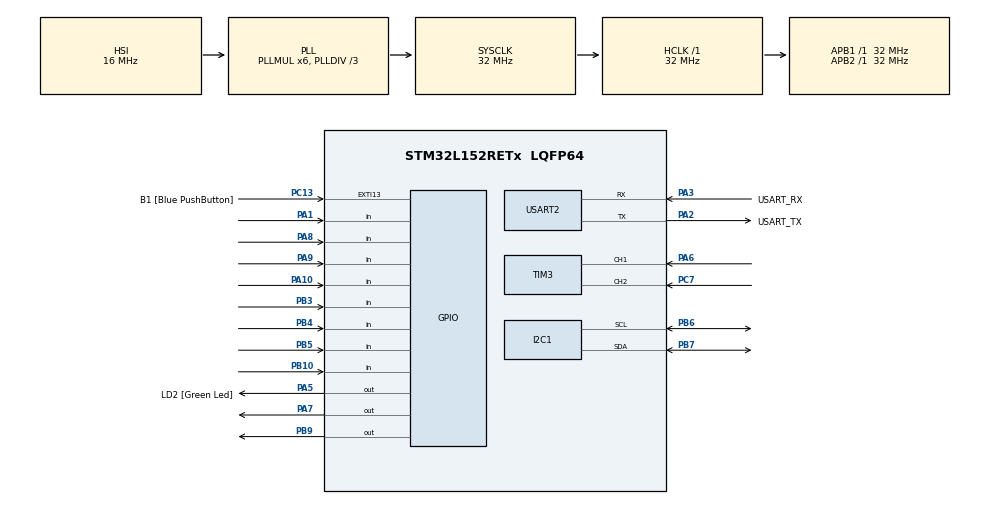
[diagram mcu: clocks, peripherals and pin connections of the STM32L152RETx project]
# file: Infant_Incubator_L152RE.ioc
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Mcu.Family=STM32L1
Mcu.Name=STM32L152RETx
Mcu.Package=LQFP64
NVIC.PriorityGroup=NVIC_PRIORITYGROUP_0
PA1.Signal=GPIO_Input
PA10.GPIO_PuPd=GPIO_PULLDOWN
PA10.Signal=GPIO_Input
PA13.GPIO_Label=TMS
PA13.Mode=Serial_Wire
PA13.Signal=SYS_JTMS-SWDIO
PA14.GPIO_Label=TCK
PA14.Mode=Serial_Wire
PA14.Signal=SYS_JTCK-SWCLK
PA2.GPIO_Label=USART_TX
PA2.Mode=Asynchronous
PA2.Signal=USART2_TX
PA3.GPIO_Label=USART_RX
PA3.Mode=Asynchronous
PA3.Signal=USART2_RX
PA5.GPIO_Label=LD2 [Green Led]
PA5.Signal=GPIO_Output
PA6.GPIO_PuPd=GPIO_PULLUP
PA6.Signal=S_TIM3_CH1
PA7.Signal=GPIO_Output
PA8.GPIO_PuPd=GPIO_PULLUP
PA8.Signal=GPIO_Input
PA9.GPIO_PuPd=GPIO_PULLDOWN
PA9.Signal=GPIO_Input
PB10.GPIO_PuPd=GPIO_PULLDOWN
PB10.Signal=GPIO_Input
PB3.GPIO_PuPd=GPIO_PULLDOWN
PB3.Signal=GPIO_Input
PB4.GPIO_PuPd=GPIO_PULLDOWN
PB4.Signal=GPIO_Input
PB5.GPIO_PuPd=GPIO_PULLDOWN
PB5.Signal=GPIO_Input
PB6.Mode=I2C
PB6.Signal=I2C1_SCL
PB7.Mode=I2C
PB7.Signal=I2C1_SDA
PB9.Signal=GPIO_Output
PC13-WKUP2.GPIO_Label=B1 [Blue PushButton]
PC13-WKUP2.Signal=GPXTI13
PC14-OSC32_IN.Mode=LSE-External-Oscillator
PC14-OSC32_IN.Signal=RCC_OSC32_IN
PC15-OSC32_OUT.Mode=LSE-External-Oscillator
PC15-OSC32_OUT.Signal=RCC_OSC32_OUT
PC7.GPIO_PuPd=GPIO_PULLUP
PC7.Signal=S_TIM3_CH2
PH0-OSC_IN.Mode=HSE-External-Clock-Source
PH0-OSC_IN.Signal=RCC_OSC_IN
PH1-OSC_OUT.Signal=RCC_OSC_OUT
ProjectManager.HeapSize=0x200
ProjectManager.StackSize=0x400
ProjectManager.TargetToolchain=STM32CubeIDE
RCC.48MHZClocksFreq_Value=48000000
RCC.AHBFreq_Value=32000000
RCC.APB1Freq_Value=32000000
RCC.APB1TimFreq_Value=32000000
RCC.APB2Freq_Value=32000000
RCC.APB2TimFreq_Value=32000000
RCC.HCLKFreq_Value=32000000
RCC.HSE_VALUE=8000000
RCC.HSI_VALUE=16000000
RCC.MSI_VALUE=2097000
RCC.PLLDIV=RCC_PLL_DIV3
RCC.PLLMUL=RCC_PLL_MUL6
RCC.RTCClockSelectionVirtual=RCC_RTCCLKSOURCE_LSE
RCC.SYSCLKFreq_VALUE=32000000
RCC.SYSCLKSource=RCC_SYSCLKSOURCE_PLLCLK
RCC.USBOutput=48000000
RCC.VCOOutputFreq_Value=96000000
SH.S_TIM3_CH1.0=TIM3_CH1,Encoder_Interface
SH.S_TIM3_CH2.0=TIM3_CH2,Encoder_Interface
TIM3.EncoderMode=TIM_ENCODERMODE_TI2
USART2.VirtualMode=VM_ASYNC
board=NUCLEO-L152RE

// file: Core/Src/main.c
/* USER CODE BEGIN Header */
/**
 ******************************************************************************
 * @file           : main.c
 * @brief          : Main program body
 ******************************************************************************
 * @attention
 *
 * Copyright (c) 2025 STMicroelectronics.
 * All rights reserved.
 *
 * This software is licensed under terms that can be found in the LICENSE file
 * in the root directory of this software component.
 * If no LICENSE file comes with this software, it is provided AS-IS.
 *
 ******************************************************************************
 */
/* USER CODE END Header */
#include "main.h"

/* USER CODE BEGIN Includes */
#include "I2C_LCD.h"
#include <string.h>
#include <stdio.h>
#include <stdbool.h>
/* USER CODE END Includes */

/* USER CODE BEGIN PTD */
typedef enum{
  HOME_SCREEN,
  BPM_SCREEN,
  HUMIDITY_SCREEN,
  INC_TEMP_SCREEN,
  INF_TEMP_SCREEN,
} MenuState;

typedef struct {
    int *min;
    int *max;
    int absMin;
    int absMax;
} paramBounds;
/* USER CODE END PTD */

/* USER CODE BEGIN PD */
	#define SHT31_ADDR 0x44 << 1 // SHT31 I2C address shifted left by 1 bit
	#define CMD_MEASURE_TEMP 0x2C06 // Command to measure temperature
	#define CMD_MEASURE_HUMIDITY 0x2C10 // Command to measure humidity
/* USER CODE END PD */

I2C_HandleTypeDef hi2c1;

TIM_HandleTypeDef htim3;

UART_HandleTypeDef huart2;

/* USER CODE BEGIN PV */
const uint32_t SCREEN_REFRESH_MS = 1500;   // update every 500 ms
char buffer[256] = {0};
uint32_t lastUpdateTick = 0;
uint32_t now = 0;
I2C_LCD_HandleTypeDef lcd1;
/* USER CODE END PV */

void SystemClock_Config(void);
static void MX_GPIO_Init(void);
static void MX_USART2_UART_Init(void);
static void MX_I2C1_Init(void);
static void MX_TIM3_Init(void);

/* USER CODE BEGIN 0 */
// calculates CRC value for STS-35 Sensor
uint8_t STS35_CalcCRC(uint8_t *data)
{
   uint8_t crc = 0xFF;   // Start with initial CRC value
   // Process both temperature bytes
   for (int i = 0; i < 2; i++)
   {
       crc ^= data[i];   // XOR incoming byte with current CRC
       // Process each of the 8 bits in this byte
       for (int j = 0; j < 8; j++)
       {
           // If MSB is 1, shift and XOR with polynomial 0x31
           if (crc & 0x80)
               crc = (crc << 1) ^ 0x31;
           else
               crc = (crc << 1);   // Otherwise just shift left
       }
   }
   return crc;   // Final CRC result
}
//takes reading from STS35 sensor
float STS35_ReadTemperature(void)
{
  uint8_t cmd[2] = {0x24, 0x00};     // High repeatability, no clock stretch
  uint8_t rx[3];
  uint16_t raw;
  // Send command
  if (HAL_I2C_Master_Transmit(&hi2c1, (0x4B << 1), cmd, 2, HAL_MAX_DELAY) != HAL_OK)
      return -300.0f;
  HAL_Delay(20);
  // Read response: 2 bytes + CRC
  if (HAL_I2C_Master_Receive(&hi2c1, (0x4B << 1), rx, 3, HAL_MAX_DELAY) != HAL_OK)
      return -300.0f;
  // CRC check
  if (STS35_CalcCRC(rx) != rx[2])
      return -301.0f;
  // Convert raw temperature reading
  raw = (rx[0] << 8) | rx[1];
  return -45.0f + (175.0f * (float)raw / 65535.0f);
}
//Takes reading from SHT31 Sensor
void SHT31_ReadTempHumidity(float* temp, float* humidity)
{
   uint8_t cmd[2] = {0x2C, 0x06};
   uint8_t data[6];
   uint16_t temp_raw, humidity_raw;
   // Send measurement command
   HAL_I2C_Master_Transmit(&hi2c1, SHT31_ADDR, cmd, 2, HAL_MAX_DELAY);
   HAL_Delay(20);
   // Read 6 bytes (temp + humidity)
   HAL_I2C_Master_Receive(&hi2c1, SHT31_ADDR, data, 6, HAL_MAX_DELAY);
   // Parse raw values
   temp_raw = (data[0] << 8) | data[1];
   humidity_raw = (data[3] << 8) | data[4];
   // Convert to human-readable units
   *temp = -45.0f + 175.0f * ((float)temp_raw / 65535.0f);
   *humidity = 100.0f * ((float)humidity_raw / 65535.0f);
}

void drawParamScreen(I2C_LCD_HandleTypeDef *lcd, const char *title, float value, int minVal, int maxVal, uint8_t editMax, char *buffer)
{
    // Display the name of the current screen
    lcd_gotoxy(lcd, 0, 0);
    lcd_puts(lcd, title);

    // Display the live sensor value on the right side
    lcd_gotoxy(lcd, 15, 0);
    sprintf(buffer, "%4.1f", value);
    lcd_puts(lcd, buffer);

    // Show cursor if editing MIN (editMax == 0)
    lcd_gotoxy(lcd, 0, 1);
    lcd_puts(lcd, (!editMax) ? ">" : " ");

    // Label for minimum bound
    lcd_gotoxy(lcd, 1, 1);
    lcd_puts(lcd, "Min. Bound:");

    // Display minimum bound value
    lcd_gotoxy(lcd, 15, 1);
    sprintf(buffer, "%d", minVal);
    lcd_puts(lcd, buffer);

    // Show cursor if editing MAX (editMax == 1)
    lcd_gotoxy(lcd, 0, 2);
    lcd_puts(lcd, (editMax) ? ">" : " ");

    // Label for maximum bound
    lcd_gotoxy(lcd, 1, 2);
    lcd_puts(lcd, "Max. Bound:");

    // Display maximum bound value
    lcd_gotoxy(lcd, 15, 2);
    sprintf(buffer, "%d", maxVal);
    lcd_puts(lcd, buffer);
}
/* USER CODE END 0 */

int main(void)
{

  /* MCU Configuration--------------------------------------------------------*/

  /* Reset of all peripherals, Initializes the Flash interface and the Systick. */
  HAL_Init();

  /* Configure the system clock */
  SystemClock_Config();

  /* Initialize all configured peripherals */
  MX_GPIO_Init();
  MX_USART2_UART_Init();
  MX_I2C1_Init();
  MX_TIM3_Init();
  /* USER CODE BEGIN 2 */
 HAL_TIM_Encoder_Start(&htim3, TIM_CHANNEL_ALL);
 /* USER CODE BEGIN 2 */
 lcd1.hi2c1 = &hi2c1;   // use global hi2c1 (initialized by MX_I2C1_Init)
 lcd1.address = (0x27 << 1);
 lcd_init(&lcd1);
 // Pulled-down input so default low.
 uint8_t bpmLastState = 0;
 uint8_t humidityLastState = 0;
 uint8_t incubatorTempLastState = 0;
 uint8_t infantTempLastState = 0;
 uint8_t homeScreenLastState = 0;
 MenuState currentScreen = HOME_SCREEN;
 MenuState lastScreen = INF_TEMP_SCREEN;
 bool editMax = false;   // false = edit min, true = edit max
 int16_t lastEnc = (int16_t)__HAL_TIM_GET_COUNTER(&htim3);
 // Random testing variables
 float infTemp = 0;
 float humidity = 0;
 float incTemp = 0;
 float bpm = 100;
 int alarm = 0;
 int maxIncTemp = 50;
 int minIncTemp = 10;
 int minBpm = 80;
 int maxBpm = 150;
 int minInfTemp = 20;
 int maxInfTemp = 30;
 int maxHumidity = 98;
 int minHumidity = 2;

 paramBounds params[] = {
     [BPM_SCREEN]       = {&minBpm, &maxBpm, 0, 300},
     [HUMIDITY_SCREEN]  = {&minHumidity, &maxHumidity, 0, 100},
     [INC_TEMP_SCREEN]  = {&minIncTemp, &maxIncTemp, -100, 100},
     [INF_TEMP_SCREEN]  = {&minInfTemp, &maxInfTemp, -100, 100}
 };
  /* USER CODE END 2 */

  /* Infinite loop */
  /* USER CODE BEGIN WHILE */
 while (1)
 {
	  // Read encoder value
	  int16_t encNow = (int16_t)__HAL_TIM_GET_COUNTER(&htim3);
	  int16_t encDelta = encNow - lastEnc;

	  // Encoder input handling.
	  // When the encoder is rotated enough to register, the system adjusts parameters for selected screen.
	  float step = 0;
	  if (encDelta >= 2)
	  {
	      step = 1;
	      lastEnc = encNow;
	  }
	  else if (encDelta <= -2)
	  {
	      step = -1;
	      lastEnc = encNow;
	  }
	  // update time stamp
     now = HAL_GetTick();
     // Reading the button states
     uint8_t bpmState = HAL_GPIO_ReadPin(GPIOA, GPIO_PIN_10);
     uint8_t humidityState = HAL_GPIO_ReadPin(GPIOA, GPIO_PIN_9);
     uint8_t incubatorTempState = HAL_GPIO_ReadPin(GPIOB, GPIO_PIN_5);
     uint8_t infantTempState = HAL_GPIO_ReadPin(GPIOB, GPIO_PIN_4);
     uint8_t homeScreenState = HAL_GPIO_ReadPin(GPIOB, GPIO_PIN_10);
     // Button press handling for screen navigation and parameter editing.

     // Button 1 : BPM screen
          if (bpmState == GPIO_PIN_RESET && bpmLastState == GPIO_PIN_SET)
          {
              if (currentScreen == BPM_SCREEN)
                  editMax = !editMax;
              else
              {
                  currentScreen = BPM_SCREEN;
                  editMax = false;
              }
          }
          // Button 2 : Humidity screen
          else if (humidityState == GPIO_PIN_RESET && humidityLastState == GPIO_PIN_SET)
          {
              if (currentScreen == HUMIDITY_SCREEN)
                  editMax = !editMax;
              else
              {
                  currentScreen = HUMIDITY_SCREEN;
                  editMax = false;
              }
          }
          // Button 3 : Incubator temperature screen
          else if (incubatorTempState == GPIO_PIN_RESET && incubatorTempLastState == GPIO_PIN_SET)
          {
              if (currentScreen == INC_TEMP_SCREEN)
                  editMax = !editMax;
              else
              {
                  currentScreen = INC_TEMP_SCREEN;
                  editMax = false;
              }
          }
          // Button 4 : Infant temperature screen
          else if (infantTempState == GPIO_PIN_RESET && infantTempLastState == GPIO_PIN_SET)
          {
              if (currentScreen == INF_TEMP_SCREEN)
                  editMax = !editMax;
              else
              {
                  currentScreen = INF_TEMP_SCREEN;
                  editMax = false;
              }
          }
          // Button 5 : Home screen
          else if (homeScreenState == GPIO_PIN_RESET && homeScreenLastState == GPIO_PIN_SET)
          {
              currentScreen = HOME_SCREEN;
          }

          // Saving the button state
          bpmLastState = bpmState;
          humidityLastState = humidityState;
          incubatorTempLastState = incubatorTempState;
          infantTempLastState = infantTempState;
          homeScreenLastState = homeScreenState;

          // get sensor readings
          infTemp = STS35_ReadTemperature();
          SHT31_ReadTempHumidity(&incTemp, &humidity);

          // Encoder step changes bounds on selected screen
          if (step != 0 && currentScreen != HOME_SCREEN)
          {
              paramBounds *p = &params[currentScreen];

              if (!editMax)
              {
                  *p->min += step;

                  if (*p->min < p->absMin) *p->min = p->absMin;
                  if (*p->min >= *p->max) *p->min = *p->max - 1;
              }
              else
              {
                  *p->max += step;

                  if (*p->max <= *p->min) *p->max = *p->min + 1;
                  if (*p->max > p->absMax) *p->max = p->absMax;
              }
          }

     //Alarms
     //Infant temperature alarm
     if (infTemp > maxInfTemp || infTemp < minInfTemp) alarm = 1;
     //Incubator temperature alarm
     else if (incTemp > maxIncTemp || incTemp < minIncTemp) alarm = 1;
     //Incubator humidity alarm
     else if (humidity > maxHumidity || humidity < minHumidity) alarm = 1;
     //Incubator humidity alarm
     else if (bpm > maxBpm || bpm < minBpm) alarm = 1;
     else alarm = 0;
     //Write to alarm pin
     HAL_GPIO_WritePin(GPIOB, GPIO_PIN_9, alarm ? GPIO_PIN_SET : GPIO_PIN_RESET);
     // Only update screen on changes
     if (currentScreen != lastScreen || (now - lastUpdateTick) >= SCREEN_REFRESH_MS) {
         lastUpdateTick = now;   // record time of this update
         lcd_clear(&lcd1);
		  // Home screen as default
         switch(currentScreen)
         {
             case HOME_SCREEN:
                 // Displays all current sensor values

                 // Print screen title
                 lcd_gotoxy(&lcd1, 0, 0);
                 lcd_puts(&lcd1, "Home:");

                 // Print BPM value
                 lcd_gotoxy(&lcd1, 0, 1);
                 sprintf(buffer, "BPM: %4.1f", bpm);
                 lcd_puts(&lcd1, buffer);

                 // Print humidity value
                 lcd_gotoxy(&lcd1, 11, 1);
                 sprintf(buffer, "HUM: %4.1f", humidity);
                 lcd_puts(&lcd1, buffer);

                 // Print incubator temperature
                 lcd_gotoxy(&lcd1, 0, 2);
                 sprintf(buffer, "INC: %4.1f", incTemp);
                 lcd_puts(&lcd1, buffer);

                 // Print infant temperature
                 lcd_gotoxy(&lcd1, 11, 2);
                 sprintf(buffer, "INF: %4.1f", infTemp);
                 lcd_puts(&lcd1, buffer);

                 break;

             case BPM_SCREEN:
                 // Allows editing of BPM min/max bounds using encoder

                 drawParamScreen(&lcd1, "BPM:",
                                 bpm, minBpm, maxBpm,
                                 editMax, buffer);
                 break;

             case HUMIDITY_SCREEN:
                 // Allows editing of humidity min/max bounds

                 drawParamScreen(&lcd1, "Humidity",
                                 humidity, minHumidity, maxHumidity,
                                 editMax, buffer);
                 break;

             case INC_TEMP_SCREEN:
                 // Allows editing of incubator temperature limits

                 drawParamScreen(&lcd1, "Incubator Temp:",
                                 incTemp, minIncTemp, maxIncTemp,
                                 editMax, buffer);
                 break;

             case INF_TEMP_SCREEN:
                 // Allows editing of infant temperature limits

                 drawParamScreen(&lcd1, "Infant Temp:",
                                 infTemp, minInfTemp, maxInfTemp,
                                 editMax, buffer);
                 break;
         }
		  lastScreen = currentScreen;
	  }
    /* USER CODE END WHILE */

 }
}

void SystemClock_Config(void)
{
  RCC_OscInitTypeDef RCC_OscInitStruct = {0};
  RCC_ClkInitTypeDef RCC_ClkInitStruct = {0};

  /** Configure the main internal regulator output voltage
  */
  __HAL_PWR_VOLTAGESCALING_CONFIG(PWR_REGULATOR_VOLTAGE_SCALE1);

  /** Initializes the RCC Oscillators according to the specified parameters
  * in the RCC_OscInitTypeDef structure.
  */
  RCC_OscInitStruct.OscillatorType = RCC_OSCILLATORTYPE_HSI;
  RCC_OscInitStruct.HSIState = RCC_HSI_ON;
  RCC_OscInitStruct.HSICalibrationValue = RCC_HSICALIBRATION_DEFAULT;
  RCC_OscInitStruct.PLL.PLLState = RCC_PLL_ON;
  RCC_OscInitStruct.PLL.PLLSource = RCC_PLLSOURCE_HSI;
  RCC_OscInitStruct.PLL.PLLMUL = RCC_PLL_MUL6;
  RCC_OscInitStruct.PLL.PLLDIV = RCC_PLL_DIV3;
  if (HAL_RCC_OscConfig(&RCC_OscInitStruct) != HAL_OK)
  {
    Error_Handler();
  }

  /** Initializes the CPU, AHB and APB buses clocks
  */
  RCC_ClkInitStruct.ClockType = RCC_CLOCKTYPE_HCLK|RCC_CLOCKTYPE_SYSCLK
                              |RCC_CLOCKTYPE_PCLK1|RCC_CLOCKTYPE_PCLK2;
  RCC_ClkInitStruct.SYSCLKSource = RCC_SYSCLKSOURCE_PLLCLK;
  RCC_ClkInitStruct.AHBCLKDivider = RCC_SYSCLK_DIV1;
  RCC_ClkInitStruct.APB1CLKDivider = RCC_HCLK_DIV1;
  RCC_ClkInitStruct.APB2CLKDivider = RCC_HCLK_DIV1;

  if (HAL_RCC_ClockConfig(&RCC_ClkInitStruct, FLASH_LATENCY_1) != HAL_OK)
  {
    Error_Handler();
  }
}

static void MX_I2C1_Init(void)
{

  hi2c1.Instance = I2C1;
  hi2c1.Init.ClockSpeed = 100000;
  hi2c1.Init.DutyCycle = I2C_DUTYCYCLE_2;
  hi2c1.Init.OwnAddress1 = 0;
  hi2c1.Init.AddressingMode = I2C_ADDRESSINGMODE_7BIT;
  hi2c1.Init.DualAddressMode = I2C_DUALADDRESS_DISABLE;
  hi2c1.Init.OwnAddress2 = 0;
  hi2c1.Init.GeneralCallMode = I2C_GENERALCALL_DISABLE;
  hi2c1.Init.NoStretchMode = I2C_NOSTRETCH_DISABLE;
  if (HAL_I2C_Init(&hi2c1) != HAL_OK)
  {
    Error_Handler();
  }

}

static void MX_TIM3_Init(void)
{

  TIM_Encoder_InitTypeDef sConfig = {0};
  TIM_MasterConfigTypeDef sMasterConfig = {0};

  htim3.Instance = TIM3;
  htim3.Init.Prescaler = 0;
  htim3.Init.CounterMode = TIM_COUNTERMODE_UP;
  htim3.Init.Period = 65535;
  htim3.Init.ClockDivision = TIM_CLOCKDIVISION_DIV1;
  htim3.Init.AutoReloadPreload = TIM_AUTORELOAD_PRELOAD_DISABLE;
  sConfig.EncoderMode = TIM_ENCODERMODE_TI12;
  sConfig.IC1Polarity = TIM_ICPOLARITY_RISING;
  sConfig.IC1Selection = TIM_ICSELECTION_DIRECTTI;
  sConfig.IC1Prescaler = TIM_ICPSC_DIV1;
  sConfig.IC1Filter = 0;
  sConfig.IC2Polarity = TIM_ICPOLARITY_RISING;
  sConfig.IC2Selection = TIM_ICSELECTION_DIRECTTI;
  sConfig.IC2Prescaler = TIM_ICPSC_DIV1;
  sConfig.IC2Filter = 0;
  if (HAL_TIM_Encoder_Init(&htim3, &sConfig) != HAL_OK)
  {
    Error_Handler();
  }
  sMasterConfig.MasterOutputTrigger = TIM_TRGO_RESET;
  sMasterConfig.MasterSlaveMode = TIM_MASTERSLAVEMODE_DISABLE;
  if (HAL_TIMEx_MasterConfigSynchronization(&htim3, &sMasterConfig) != HAL_OK)
  {
    Error_Handler();
  }

}

static void MX_USART2_UART_Init(void)
{

  huart2.Instance = USART2;
  huart2.Init.BaudRate = 115200;
  huart2.Init.WordLength = UART_WORDLENGTH_8B;
  huart2.Init.StopBits = UART_STOPBITS_1;
  huart2.Init.Parity = UART_PARITY_NONE;
  huart2.Init.Mode = UART_MODE_TX_RX;
  huart2.Init.HwFlowCtl = UART_HWCONTROL_NONE;
  huart2.Init.OverSampling = UART_OVERSAMPLING_16;
  if (HAL_UART_Init(&huart2) != HAL_OK)
  {
    Error_Handler();
  }

}

static void MX_GPIO_Init(void)
{
  GPIO_InitTypeDef GPIO_InitStruct = {0};

  /* GPIO Ports Clock Enable */
  __HAL_RCC_GPIOC_CLK_ENABLE();
  __HAL_RCC_GPIOH_CLK_ENABLE();
  __HAL_RCC_GPIOA_CLK_ENABLE();
  __HAL_RCC_GPIOB_CLK_ENABLE();

  /*Configure GPIO pin Output Level */
  HAL_GPIO_WritePin(GPIOA, LD2_Pin|GPIO_PIN_7, GPIO_PIN_RESET);

  /*Configure GPIO pin Output Level */
  HAL_GPIO_WritePin(GPIOB, GPIO_PIN_9, GPIO_PIN_RESET);

  /*Configure GPIO pin : B1_Pin */
  GPIO_InitStruct.Pin = B1_Pin;
  GPIO_InitStruct.Mode = GPIO_MODE_IT_RISING;
  GPIO_InitStruct.Pull = GPIO_NOPULL;
  HAL_GPIO_Init(B1_GPIO_Port, &GPIO_InitStruct);

  /*Configure GPIO pin : PA1 */
  GPIO_InitStruct.Pin = GPIO_PIN_1;
  GPIO_InitStruct.Mode = GPIO_MODE_INPUT;
  GPIO_InitStruct.Pull = GPIO_NOPULL;
  HAL_GPIO_Init(GPIOA, &GPIO_InitStruct);

  /*Configure GPIO pins : LD2_Pin PA7 */
  GPIO_InitStruct.Pin = LD2_Pin|GPIO_PIN_7;
  GPIO_InitStruct.Mode = GPIO_MODE_OUTPUT_PP;
  GPIO_InitStruct.Pull = GPIO_NOPULL;
  GPIO_InitStruct.Speed = GPIO_SPEED_FREQ_LOW;
  HAL_GPIO_Init(GPIOA, &GPIO_InitStruct);

  /*Configure GPIO pins : PB10 PB3 PB4 PB5 */
  GPIO_InitStruct.Pin = GPIO_PIN_10|GPIO_PIN_3|GPIO_PIN_4|GPIO_PIN_5;
  GPIO_InitStruct.Mode = GPIO_MODE_INPUT;
  GPIO_InitStruct.Pull = GPIO_PULLDOWN;
  HAL_GPIO_Init(GPIOB, &GPIO_InitStruct);

  /*Configure GPIO pin : PA8 */
  GPIO_InitStruct.Pin = GPIO_PIN_8;
  GPIO_InitStruct.Mode = GPIO_MODE_INPUT;
  GPIO_InitStruct.Pull = GPIO_PULLUP;
  HAL_GPIO_Init(GPIOA, &GPIO_InitStruct);

  /*Configure GPIO pins : PA9 PA10 */
  GPIO_InitStruct.Pin = GPIO_PIN_9|GPIO_PIN_10;
  GPIO_InitStruct.Mode = GPIO_MODE_INPUT;
  GPIO_InitStruct.Pull = GPIO_PULLDOWN;
  HAL_GPIO_Init(GPIOA, &GPIO_InitStruct);

  /*Configure GPIO pin : PB9 */
  GPIO_InitStruct.Pin = GPIO_PIN_9;
  GPIO_InitStruct.Mode = GPIO_MODE_OUTPUT_PP;
  GPIO_InitStruct.Pull = GPIO_NOPULL;
  GPIO_InitStruct.Speed = GPIO_SPEED_FREQ_LOW;
  HAL_GPIO_Init(GPIOB, &GPIO_InitStruct);

  /* USER CODE BEGIN MX_GPIO_Init_2 */
 // --- Rotary encoder pins: PA6 = TIM3_CH1, PC7 = TIM3_CH2 ---
 // IMPORTANT: Set GPIO_AFx_TIM3 to the correct AF number for your MCU.
 // CubeMX normally shows it; otherwise check the datasheet "Alternate function mapping".
 // Enable GPIOC clock already enabled above; GPIOA too (you already do this)
 // PA6 -> TIM3_CH1
 GPIO_InitStruct.Pin = GPIO_PIN_6;
 GPIO_InitStruct.Mode = GPIO_MODE_AF_PP;
 GPIO_InitStruct.Pull = GPIO_PULLUP;                 // because encoder common is GND
 GPIO_InitStruct.Speed = GPIO_SPEED_FREQ_LOW;
 GPIO_InitStruct.Alternate = GPIO_AF2_TIM3;          // <--- THIS AF NUMBER MAY DIFFER
 HAL_GPIO_Init(GPIOA, &GPIO_InitStruct);
 // PC7 -> TIM3_CH2
 GPIO_InitStruct.Pin = GPIO_PIN_7;
 GPIO_InitStruct.Mode = GPIO_MODE_AF_PP;
 GPIO_InitStruct.Pull = GPIO_PULLUP;                 // pull-up for switch-to-ground encoder
 GPIO_InitStruct.Speed = GPIO_SPEED_FREQ_LOW;
 GPIO_InitStruct.Alternate = GPIO_AF2_TIM3;          // <--- THIS AF NUMBER MAY DIFFER
 HAL_GPIO_Init(GPIOC, &GPIO_InitStruct);
  /* USER CODE END MX_GPIO_Init_2 */
}

void Error_Handler(void)
{
  /* USER CODE BEGIN Error_Handler_Debug */
 /* User can add his own implementation to report the HAL error return state */
 __disable_irq();
 while (1);
 {
 };
  /* USER CODE END Error_Handler_Debug */
}
